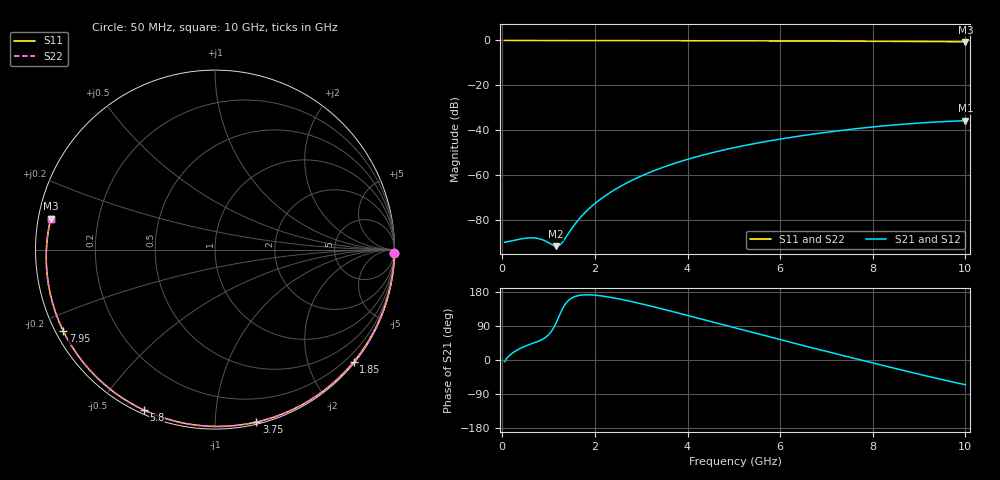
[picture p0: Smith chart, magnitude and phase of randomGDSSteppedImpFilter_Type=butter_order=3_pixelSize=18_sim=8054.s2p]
! freq	dB(S11)	phase(S11)	dB(S12)	phase(S12)
!  dB(S21)	phase(S21)	dB(S22)	phase(S22)
!S-par simulation data
#  GHz  S  DB  R 50
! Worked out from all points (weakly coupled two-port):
!   200 points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, 50 MHz to 10 GHz, reference 50 ohm
!   highest |S21| = -35.83 dB at 10 GHz (marker M1); lowest = -91.9 dB at 1.15 GHz (marker M2)
!   lowest |S11| = -0.6 dB at 10 GHz (marker M3), VSWR 28.09, Z = 1.8 + j4.64 ohm
!   |S11| at or under -10 dB: nowhere
!   |S22| runs from -0.6 to 0.0 dB; largest |S21 - S12| = 0
!   S11 on the Smith chart (normalised r, x): 50 MHz: open; 1.85 GHz: 0.03, -2.83; 3.75 GHz: 0.02, -1.27; 5.8 GHz: 0.02, -0.65; 7.95 GHz: 0.02, -0.25; 10 GHz: 0.04, +0.09
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0.05  -0.00 -1.1  -90.13 -4.5  -90.13 -4.5  -0.00 -1.1
0.6  -0.02 -12.9  -88.20 41.3  -88.20 41.3  -0.02 -12.9
1.15  -0.03 -24.5  -91.92 94.7  -91.92 94.7  -0.03 -24.5
1.65  -0.04 -34.9  -79.97 170.2  -79.97 170.2  -0.04 -34.9
1.75  -0.05 -36.9  -77.67 171.7  -77.67 171.7  -0.05 -36.9
1.85  -0.05 -39.0  -75.60 172.0  -75.60 172.0  -0.05 -39.0
2.15  -0.06 -45.1  -70.47 169.0  -70.47 169.0  -0.06 -45.1
2.5  -0.07 -52.2  -65.80 161.7  -65.80 161.7  -0.07 -52.2
2.9  -0.08 -60.1  -61.51 151.2  -61.51 151.2  -0.08 -60.1
3.4  -0.09 -69.8  -57.22 136.4  -57.22 136.4  -0.09 -69.8
3.75  -0.10 -76.5  -54.71 125.5  -54.71 125.5  -0.10 -76.5
4.4  -0.13 -88.7  -50.83 104.7  -50.83 104.7  -0.13 -88.7
5.05  -0.15 -100.5  -47.71 83.8  -47.71 83.8  -0.15 -100.5
5.8  -0.19 -113.9  -44.77 60.0  -44.77 60.0  -0.19 -113.9
6.7  -0.25 -129.7  -41.88 31.9  -41.88 31.9  -0.25 -129.7
7.35  -0.31 -141.1  -40.13 11.9  -40.13 11.9  -0.31 -141.1
7.95  -0.36 -151.7  -38.75 -6.3  -38.75 -6.3  -0.36 -151.7
8.35  -0.40 -158.9  -37.96 -18.3  -37.96 -18.3  -0.40 -158.9
8.8  -0.46 -167.2  -37.20 -31.7  -37.20 -31.7  -0.46 -167.2
9.2  -0.51 -174.8  -36.64 -43.3  -36.64 -43.3  -0.51 -174.8
9.6  -0.56 177.5  -36.18 -54.6  -36.18 -54.6  -0.56 177.4
10  -0.62 169.4  -35.83 -65.4  -35.83 -65.4  -0.62 169.4
